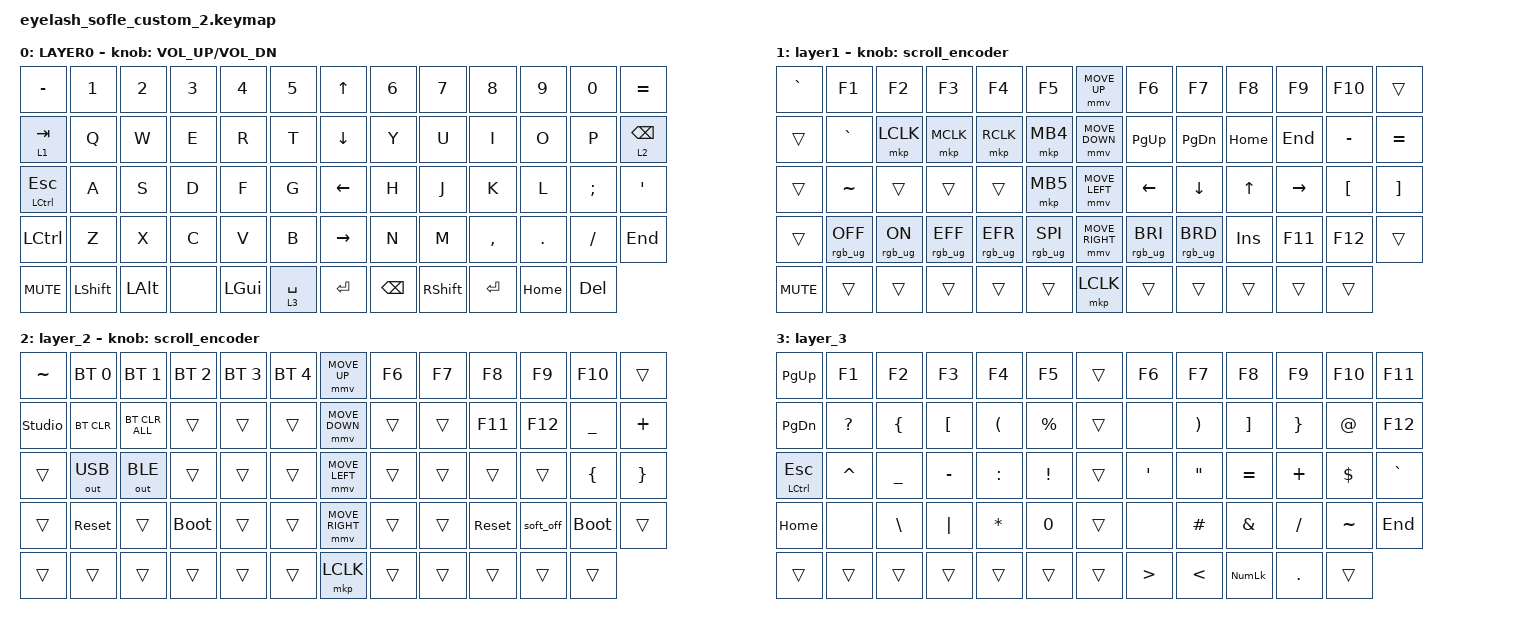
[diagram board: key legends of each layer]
// zmk-keyboard: eyelash_sofle
// variant of config/eyelash_sofle.keymap - written by VileMK
#include <behaviors.dtsi>
#include <dt-bindings/zmk/bt.h>
#include <dt-bindings/zmk/keys.h>
#include <dt-bindings/zmk/mouse.h>
#include <dt-bindings/zmk/outputs.h>
#include <dt-bindings/zmk/rgb.h>

#include <input/processors.dtsi>

/*

   &mmv_input_listener {
       input-processors = <&zip_xy_scaler 2 1>;
   };

   &msc_input_listener {
       input-processors = <&zip_xy_scaler 2 1>;
   };

 */

#define ZMK_MOUSE_DEFAULT_MOVE_VAL 1200  // 600
#define ZMK_MOUSE_DEFAULT_SCRL_VAL 20    // 10


/ {
    behaviors {
        mmv {
            acceleration-exponent = <1>;      // 1
            time-to-max-speed-ms = <900>;    // 40
            delay-ms = <0>;                   // 0
        };

        msc {
            acceleration-exponent = <1>;      // 0
            time-to-max-speed-ms = <400>;      // 500
            delay-ms = <0>;                   //   10
        };
    };

    scroll_encoder: scroll_encoder {
        compatible = "zmk,behavior-sensor-rotate";
        #sensor-binding-cells = <0>;
        bindings = <&msc SCRL_DOWN>, <&msc SCRL_UP>;

        tap-ms = <30>;
    };

    keymap {
        compatible = "zmk,keymap";

        layer0 {
            bindings = <
                &kp MINUS &kp N1 &kp N2 &kp N3 &kp N4 &kp N5 &kp UP_ARROW &kp N6 &kp N7 &kp N8 &kp N9 &kp N0 &kp EQUAL
                &lt 1 TAB              &kp Q &kp W &kp E &kp R    &kp T
                &kp DOWN_ARROW
                &kp Y                  &kp U &kp I &kp O &kp P    &lt 2 BSPC
                &ht_esc_ctrl LCTRL ESC &kp A &kp S &kp D &kp F    &kp G
                &kp LEFT_ARROW
                &kp H                  &kp J &kp K &kp L &kp SEMI &kp SQT
                &kp LCTRL              &kp Z &kp X &kp C &kp V    &kp B
                &kp RIGHT_ARROW
                &kp N &kp M &kp COMMA &kp DOT &kp FSLH &kp END &kp C_MUTE
                &kp LSHFT &kp LALT  &none   &kp LGUI &lt 3 SPACE
                &kp ENTER
                &kp BSPC  &kp RSHFT &kp RET &kp HOME &kp DEL
            >;

            sensor-bindings = <&inc_dec_kp C_VOLUME_UP C_VOL_DN>;
            display-name = "LAYER0";
        };

        layer_1 {
            bindings = <
                &kp GRAVE &kp F1 &kp F2 &kp F3 &kp F4 &kp F5 &mmv MOVE_UP &kp F6 &kp F7 &kp F8 &kp F9 &kp F10 &trans
                &trans    &kp GRAVE       &mkp LCLK      &mkp MCLK       &mkp RCLK        &mkp MB4
                &mmv MOVE_DOWN
                &kp PG_UP &kp PG_DN       &kp HOME       &kp END         &kp MINUS        &kp EQUAL
                &trans    &kp TILDE       &trans         &trans          &trans           &mkp MB5
                &mmv MOVE_LEFT
                &kp LEFT  &kp DOWN        &kp UP         &kp RIGHT       &kp LEFT_BRACKET &kp RIGHT_BRACKET
                &trans    &rgb_ug RGB_OFF &rgb_ug RGB_ON &rgb_ug RGB_EFF &rgb_ug RGB_EFR  &rgb_ug RGB_SPI
                &mmv MOVE_RIGHT
                &rgb_ug RGB_BRI &rgb_ug RGB_BRD &kp INSERT &kp F11 &kp F12 &trans &kp C_MUTE
                &trans &trans &trans &trans &trans
                &mkp LCLK
                &trans &trans &trans &trans &trans
            >;

            display-name = "layer1";
            sensor-bindings = <&scroll_encoder>;
        };

        layer_2 {
            bindings = <
&kp TILDE  &bt BT_SEL 0  &bt BT_SEL 1    &bt BT_SEL 2  &bt BT_SEL 3  &bt BT_SEL 4    &mmv MOVE_UP     &kp F6  &kp F7  &kp F8      &kp F9     &kp F10      &trans
&studio_unlock      &bt BT_CLR    &bt BT_CLR_ALL  &trans        &trans        &trans          &mmv MOVE_DOWN   &trans  &trans  &kp F11     &kp F12    &kp UNDER    &kp PLUS
&trans     &out OUT_USB  &out OUT_BLE    &trans        &trans        &trans          &mmv MOVE_LEFT   &trans  &trans  &trans      &trans     &kp LBRC     &kp RBRC
&trans     &sys_reset    &trans          &bootloader   &trans        &trans          &mmv MOVE_RIGHT  &trans  &trans  &sys_reset  &soft_off  &bootloader  &trans
&trans     &trans        &trans          &trans        &trans        &trans          &mkp LCLK        &trans  &trans  &trans      &trans     &trans
            >;

            sensor-bindings = <&scroll_encoder>;
        };
    
        layer_3 {
            bindings = <
                &kp PG_UP &kp F1 &kp F2 &kp F3 &kp F4 &kp F5 &trans &kp F6 &kp F7 &kp F8 &kp F9 &kp F10 &kp F11
                &kp PG_DN              &kp QMARK &kp LBRC  &kp LBKT  &kp LPAR  &kp PRCNT
                &trans
                &none                  &kp RPAR  &kp RBKT  &kp RBRC  &kp AT    &kp F12
                &ht_esc_ctrl LCTRL ESC &kp CARET &kp UNDER &kp MINUS &kp COLON &kp EXCL
                &trans
                &kp SQT                &kp DQT   &kp EQUAL &kp PLUS  &kp DLLR  &kp GRAVE
                &kp HOME               &none     &kp BSLH  &kp PIPE  &kp STAR  &kp N0
                &trans
                &none &kp HASH &kp AMPS &kp FSLH &kp TILDE &kp END &trans
                &trans &trans &trans     &trans  &trans
                &trans
                &kp GT &kp LT &kp KP_NUM &kp DOT &trans
            >;
        };
};
};

// BEGIN vilemk custom - generated, edits here are overwritten
/ {
    behaviors {
        ht_esc_ctrl: ht_esc_ctrl {
            compatible = "zmk,behavior-hold-tap";
            #binding-cells = <2>;
            tapping-term-ms = <200>;
            flavor = "tap-preferred";
            bindings = <&kp>, <&kp>;
        };
    };
    combos {
        compatible = "zmk,combos";
        combo_jk_squote {
            timeout-ms = <50>;
            key-positions = <34 35>;
            bindings = <&kp SQT>;
            layers = <0>;
        };
    };
};
// END vilemk custom
